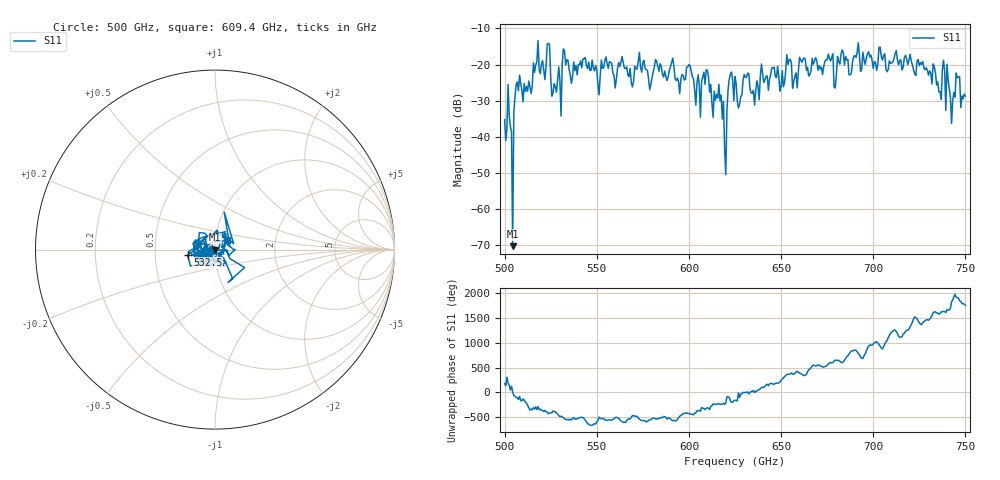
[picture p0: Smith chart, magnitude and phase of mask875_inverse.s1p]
!Created with skrf (http://scikit-rf.org).
# GHz S MA R 50.0
!freq magS11 angS11
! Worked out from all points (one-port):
!   401 points, 500 GHz to 750 GHz, reference 50 ohm
!   lowest |S11| = -70.3 dB at 504.4 GHz (marker M1), VSWR 1.00, Z = 50 + j0.00561 ohm
!   |S11| at or under -10 dB: start of sweep to end of sweep
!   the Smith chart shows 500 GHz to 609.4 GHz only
!   S11 on the Smith chart (normalised r, x): 500 GHz: 0.97, +0.00; 532.5 GHz: 0.73, -0.04; 609.4 GHz: 1.13, +0.12
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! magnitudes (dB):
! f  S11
! 500 GHz  -35.3
! 502.5 GHz  -34.0
! 503.1 GHz  -37.2
! 504.4 GHz  -70.3
! 507.5 GHz  -27.3
! 513.8 GHz  -26.1
! 516.9 GHz  -20.1
! 523.8 GHz  -14.1
! 526.9 GHz  -25.3
! 531.2 GHz  -19.8
! 532.5 GHz  -16.2
! 550.6 GHz  -25.7
! 562.5 GHz  -20.5
! 579.4 GHz  -25.4
! 590.6 GHz  -19.5
! 593.8 GHz  -23.7
! 600 GHz  -20.0
! 605 GHz  -22.8
! 609.4 GHz  -21.5
! 617.5 GHz  -28.5
! 619.4 GHz  -43.6
! 622.5 GHz  -22.7
! 625 GHz  -23.3
! 656.2 GHz  -26.6
! 687.5 GHz  -22.8
! 691.2 GHz  -16.8
! 718.8 GHz  -20.0
! 750 GHz  -28.7
